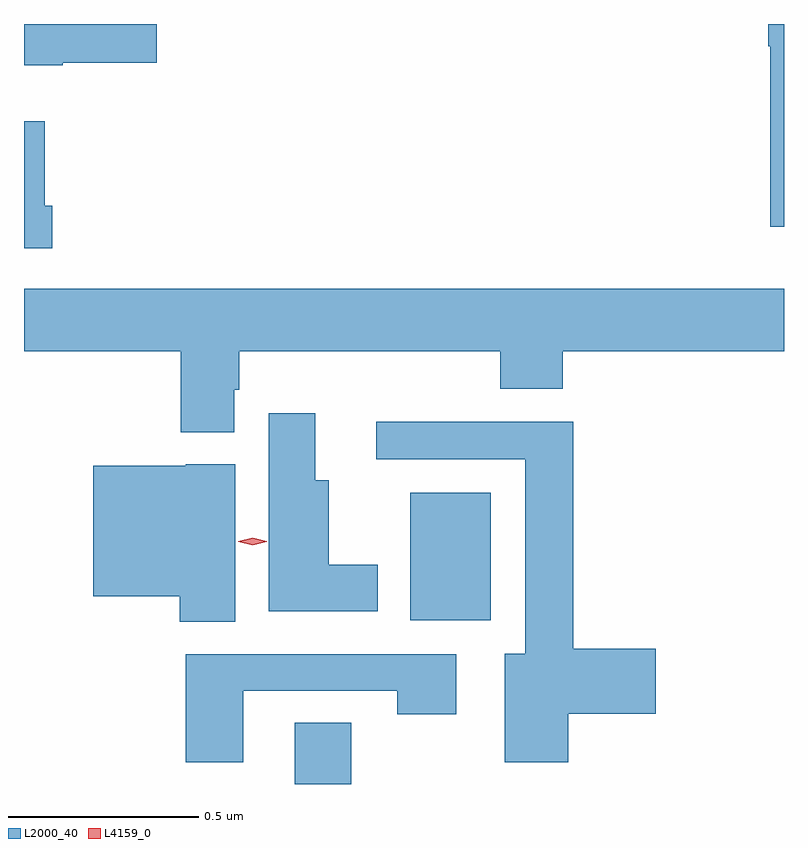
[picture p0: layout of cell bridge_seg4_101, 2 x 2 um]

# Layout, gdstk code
import gdstk
lib = gdstk.Library(unit=1e-6, precision=1e-09)
def R(c, l, rs):  # rectangles x0, y0, x1, y1
    for r in rs: c.add(gdstk.rectangle(r[:2], r[2:], *l))
def P(c, l, *ps):  # polygons
    for p in ps: c.add(gdstk.Polygon(p, *l))
L2000_40 = (2000, 40)
L4159_0 = (4159, 0)

bridge_seg4_101 = lib.new_cell('bridge_seg4_101')
R(bridge_seg4_101, L2000_40, [(439.157,777.033,439.305,777.194), (439.46,777.464,439.672,777.799)])
P(bridge_seg4_101, L2000_40, [(438.546,778.931),(438.793,778.931),(438.793,779.033),(438.444,779.033),(438.444,778.925),(438.546,778.925)],
  [(440.444,779.033),(440.402,779.033),(440.402,778.974),(440.408,778.974),(440.408,778.5),(440.444,778.5)],
  [(438.518,778.555),(438.498,778.555),(438.498,778.777),(438.444,778.777),(438.444,778.443),(438.518,778.443)],
  [(438.997,778.071),(439.01,778.071),(439.01,778.172),(439.697,778.172),(439.697,778.073),(439.862,778.073),(439.862,778.172),(440.444,778.172),(440.444,778.336),(438.444,778.336),(438.444,778.172),(438.857,778.172),(438.857,777.959),(438.997,777.959)],
  [(439.375,777.61),(439.246,777.61),(439.246,777.832),(439.21,777.832),(439.21,778.009),(439.088,778.009),(439.088,777.488),(439.375,777.488)],
  [(439.876,777.218),(440.107,777.218),(440.107,777.389),(439.889,777.389),(439.889,777.986),(439.371,777.986),(439.371,777.888),(439.763,777.888),(439.763,777.376),(439.709,777.376),(439.709,777.09),(439.876,777.09)],
  [(439,777.874),(438.87,777.874),(438.87,777.871),(438.626,777.871),(438.626,777.527),(438.854,777.527),(438.854,777.46),(439,777.46)],
  [(439.021,777.279),(439.426,777.279),(439.426,777.216),(439.582,777.216),(439.582,777.375),(438.869,777.375),(438.869,777.09),(439.021,777.09)])
P(bridge_seg4_101, L4159_0, [(439.046,777.661),(439.008,777.671),(439.008,777.671),(439.008,777.672),(439.046,777.681),(439.083,777.672),(439.083,777.671),(439.083,777.671)])

lib.write_gds('bridge_seg4_101.gds')
